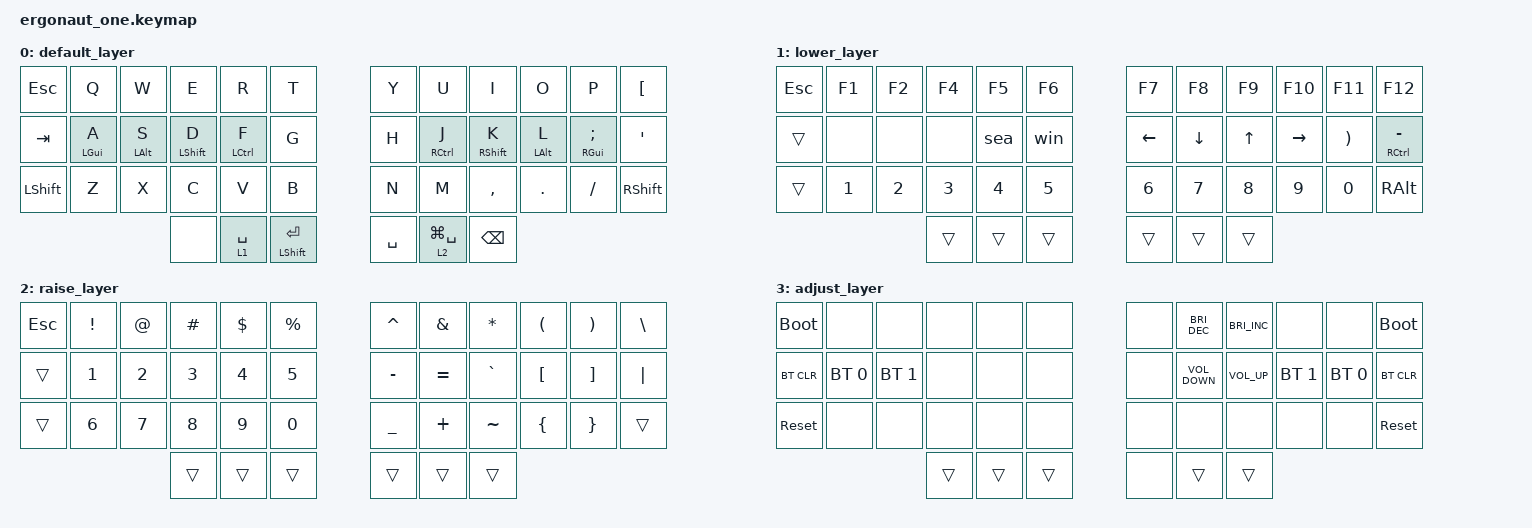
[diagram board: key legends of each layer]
#include <behaviors.dtsi>
#include <dt-bindings/zmk/bt.h>
#include <dt-bindings/zmk/keys.h>

#define DEF 0
#define LWR 1
#define RSE 2
#define ADJ 3

&lt { quick-tap-ms = <200>; };

&mt { quick-tap-ms = <200>; };

/ {
    conditional_layers {
        compatible = "zmk,conditional-layers";

        tri-layer {
            if-layers = <1 2>;
            then-layer = <3>;
        };
    };

    macros {
        sea: sea {
            compatible = "zmk,behavior-macro";
            #binding-cells = <0>;
            bindings =
                <&macro_press>,
                <&kp LEFT_ALT>,
                <&macro_tap>,
                <&kp SPACE>,
                <&macro_release>,
                <&kp LEFT_ALT>;

            label = "SEA";
        };

        win: win {
            compatible = "zmk,behavior-macro";
            #binding-cells = <0>;
            bindings =
                <&macro_press>,
                <&kp LCTRL &kp LEFT_ALT>,
                <&macro_tap>,
                <&kp ENTER>,
                <&macro_release>,
                <&kp LCTRL &kp LEFT_ALT>;

            label = "WIN";
        };
    };

    behaviors {
        td: td {
            compatible = "zmk,behavior-tap-dance";
            label = "TD";
            #binding-cells = <0>;
            tapping-term-ms = <220>;
            bindings = <&kp RIGHT_SHIFT>, <&kp RCTRL>;
        };

        tui: tui {
            compatible = "zmk,behavior-hold-tap";
            label = "TUI";
            bindings = <&kp>, <&kp>;

            #binding-cells = <2>;
            tapping-term-ms = <200>;
            quick-tap-ms = <200>;
            flavor = "tap-preferred";
            require-prior-idle-ms = <125>;
        };
    };

    keymap {
        compatible = "zmk,keymap";

        default_layer {
            bindings = <
&kp ESCAPE      &kp Q            &kp W            &kp E              &kp R                &kp T               &kp Y      &kp U                 &kp I               &kp O            &kp P                     &kp LBKT
&kp TAB         &tui LEFT_GUI A  &tui LEFT_ALT S  &tui LEFT_SHIFT D  &tui LEFT_CONTROL F  &kp G               &kp H      &tui RIGHT_CONTROL J  &tui RIGHT_SHIFT K  &tui LEFT_ALT L  &tui RIGHT_GUI SEMICOLON  &kp SINGLE_QUOTE
&kp LEFT_SHIFT  &kp Z            &kp X            &kp C              &kp V                &kp B               &kp N      &kp M                 &kp COMMA           &kp DOT          &kp FSLH                  &kp RIGHT_SHIFT
                                                  &none              &lt 1 SPACE          &mt LEFT_SHIFT RET  &kp SPACE  &lt 2 LG(SPACE)       &kp BACKSPACE
            >;
        };

        lower_layer {
            bindings = <
&kp ESCAPE  &kp F1  &kp F2  &kp F4  &kp F5  &kp F6  &kp F7    &kp F8    &kp F9  &kp F10    &kp F11   &kp F12
&trans      &none   &none   &none   &sea    &win    &kp LEFT  &kp DOWN  &kp UP  &kp RIGHT  &kp RPAR  &mt RCTRL MINUS
&trans      &kp N1  &kp N2  &kp N3  &kp N4  &kp N5  &kp N6    &kp N7    &kp N8  &kp N9     &kp N0    &kp RALT
                            &trans  &trans  &trans  &trans    &trans    &trans
            >;
        };

        raise_layer {
            bindings = <
&kp ESCAPE  &kp EXCLAMATION  &kp AT_SIGN   &kp POUND     &kp DOLLAR    &kp PERCENT   &kp CARET       &kp AMPERSAND  &kp ASTERISK  &kp LPAR  &kp RPAR  &kp BACKSLASH
&trans      &kp NUMBER_1     &kp NUMBER_2  &kp NUMBER_3  &kp NUMBER_4  &kp NUMBER_5  &kp MINUS       &kp EQUAL      &kp GRAVE     &kp LBKT  &kp RBKT  &kp PIPE
&trans      &kp NUMBER_6     &kp N7        &kp N8        &kp N9        &kp N0        &kp UNDERSCORE  &kp PLUS       &kp TILDE     &kp LBRC  &kp RBRC  &trans
                                           &trans        &trans        &trans        &trans          &trans         &trans
            >;
        };

        adjust_layer {
            bindings = <
&bootloader  &none         &none         &none   &none   &none   &none  &kp C_BRIGHTNESS_DEC  &kp C_BRIGHTNESS_INC  &none         &none         &bootloader
&bt BT_CLR   &bt BT_SEL 0  &bt BT_SEL 1  &none   &none   &none   &none  &kp K_VOLUME_DOWN     &kp K_VOLUME_UP       &bt BT_SEL 1  &bt BT_SEL 0  &bt BT_CLR
&sys_reset   &none         &none         &none   &none   &none   &none  &none                 &none                 &none         &none         &sys_reset
                                         &trans  &trans  &trans  &none  &trans                &trans
            >;
        };
    };
};
